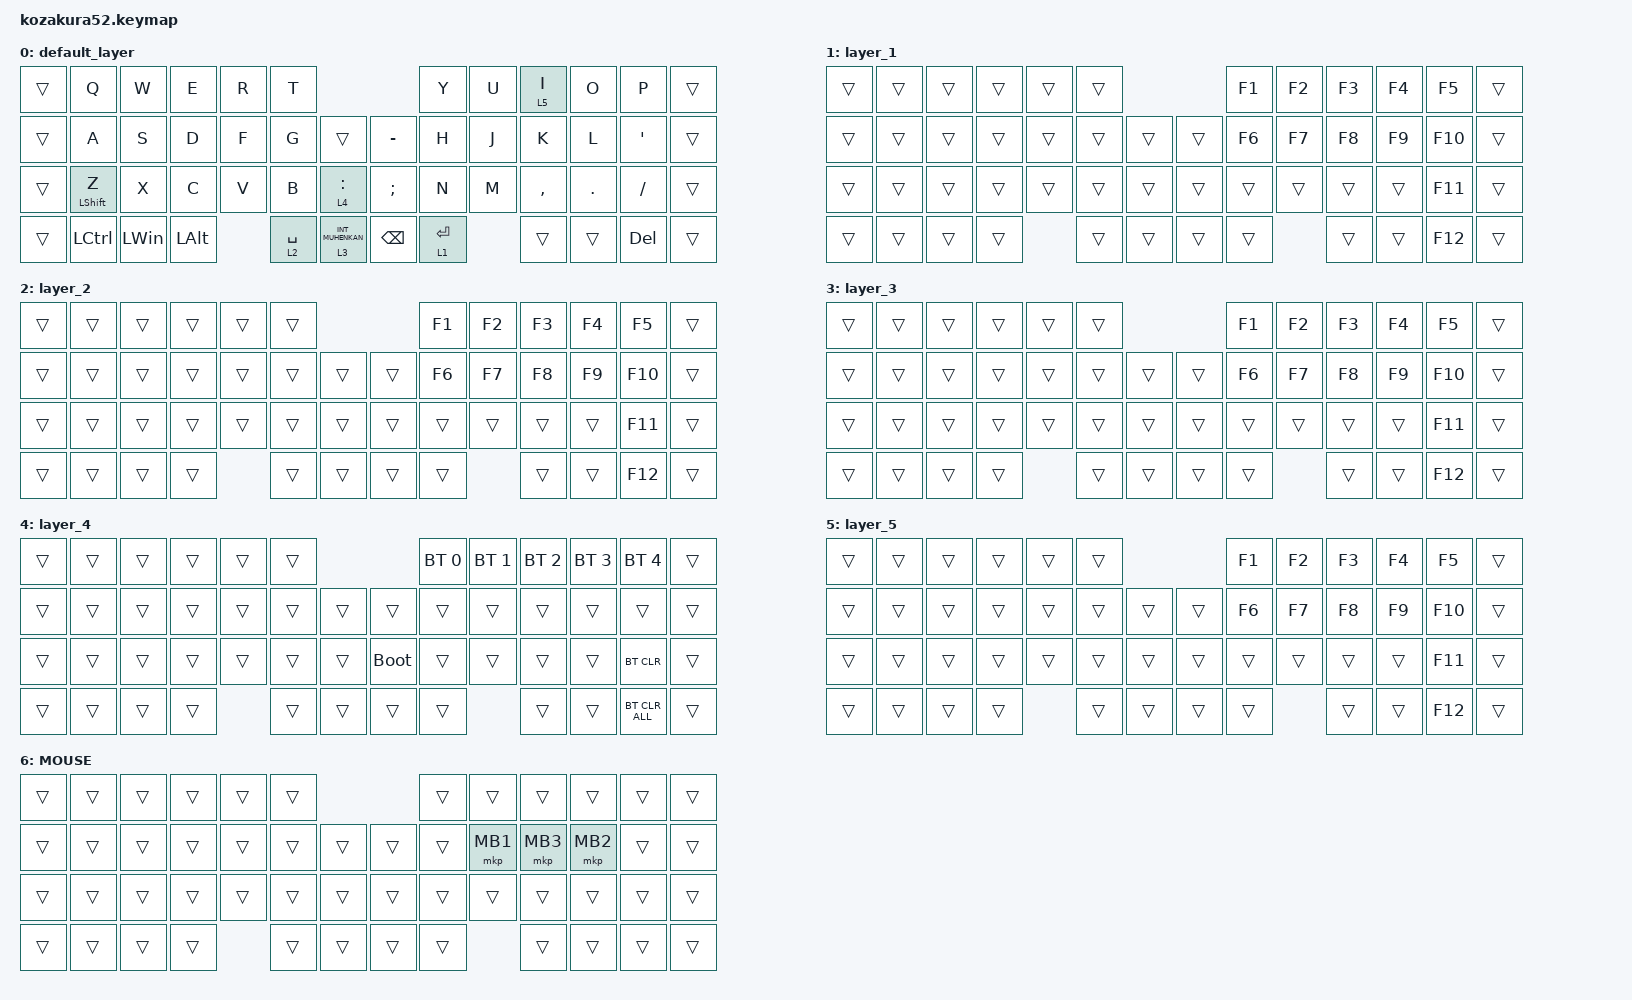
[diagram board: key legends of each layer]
#include <behaviors.dtsi>
#include <dt-bindings/zmk/bt.h>
#include <dt-bindings/zmk/keys.h>
#include <dt-bindings/zmk/pointing.h>

#define ZMK_POINTING_DEFAULT_SCRL_VAL 100
#define MOUSE 6

&mt {
    flavor = "balanced";
    quick-tap-ms = <0>;
};

/ {
    combos { compatible = "zmk,combos"; };

    macros {
        to_layer_0: to_layer_0 {
            compatible = "zmk,behavior-macro-one-param";
            #binding-cells = <1>;
            bindings = <&to 0 &macro_param_1to1 &kp MACRO_PLACEHOLDER>;
            label = "TO_LAYER_0";
        };
    };

    behaviors {
        lt_to_layer_0: lt_to_layer_0 {
            compatible = "zmk,behavior-hold-tap";
            label = "LAYER_TAP_TO_0";
            bindings = <&mo>, <&to_layer_0>;

            #binding-cells = <2>;
            tapping-term-ms = <200>;
        };

        scroll_up_down: behavior_sensor_rotate_mouse_wheel_up_down {
            compatible = "zmk,behavior-sensor-rotate";
            #sensor-binding-cells = <0>;
            bindings = <&msc SCRL_UP>, <&msc SCRL_DOWN>;

            tap-ms = <20>;
        };
    };

    keymap {
        compatible = "zmk,keymap";

        default_layer {
            bindings = <
&trans  &kp Q             &kp W         &kp E         &kp R             &kp T                                             &kp Y        &kp U  &lt 5 I    &kp O    &kp P      &trans
&trans  &kp A             &kp S         &kp D         &kp F             &kp G        &trans                &kp MINUS      &kp H        &kp J  &kp K      &kp L    &kp SQT    &trans
&trans  &mt LEFT_SHIFT Z  &kp X         &kp C         &kp V             &kp B        &lt 4 COLON           &kp SEMICOLON  &kp N        &kp M  &kp COMMA  &kp DOT  &kp SLASH  &trans
&trans  &kp LCTRL         &kp LEFT_WIN  &kp LEFT_ALT                    &lt 2 SPACE  &lt 3 INT_MUHENKAN    &kp BACKSPACE  &lt 1 ENTER         &trans     &trans   &kp DEL    &trans
            >;

//            sensor-bindings =
//                <&scroll_up_down>,
//                <&inc_dec_kp C_VOL_DN C_VOL_UP>;
        };

        layer_1 {
            bindings = <
&trans  &trans  &trans  &trans  &trans  &trans                    &kp F1  &kp F2  &kp F3  &kp F4  &kp F5   &trans
&trans  &trans  &trans  &trans  &trans  &trans  &trans    &trans  &kp F6  &kp F7  &kp F8  &kp F9  &kp F10  &trans
&trans  &trans  &trans  &trans  &trans  &trans  &trans    &trans  &trans  &trans  &trans  &trans  &kp F11  &trans
&trans  &trans  &trans  &trans          &trans  &trans    &trans  &trans          &trans  &trans  &kp F12  &trans
            >;

//            sensor-bindings = <&scroll_up_down>;
        };

        layer_2 {
            bindings = <
&trans  &trans  &trans  &trans  &trans  &trans                    &kp F1  &kp F2  &kp F3  &kp F4  &kp F5   &trans
&trans  &trans  &trans  &trans  &trans  &trans  &trans    &trans  &kp F6  &kp F7  &kp F8  &kp F9  &kp F10  &trans
&trans  &trans  &trans  &trans  &trans  &trans  &trans    &trans  &trans  &trans  &trans  &trans  &kp F11  &trans
&trans  &trans  &trans  &trans          &trans  &trans    &trans  &trans          &trans  &trans  &kp F12  &trans
            >;

//            sensor-bindings = <&scroll_up_down>;
        };

        layer_3 {
            bindings = <
&trans  &trans  &trans  &trans  &trans  &trans                    &kp F1  &kp F2  &kp F3  &kp F4  &kp F5   &trans
&trans  &trans  &trans  &trans  &trans  &trans  &trans    &trans  &kp F6  &kp F7  &kp F8  &kp F9  &kp F10  &trans
&trans  &trans  &trans  &trans  &trans  &trans  &trans    &trans  &trans  &trans  &trans  &trans  &kp F11  &trans
&trans  &trans  &trans  &trans          &trans  &trans    &trans  &trans          &trans  &trans  &kp F12  &trans
            >;

//            sensor-bindings = <&scroll_up_down>;
        };

        layer_4 {
            bindings = <
&trans  &trans  &trans  &trans  &trans  &trans                         &bt BT_SEL 0  &bt BT_SEL 1  &bt BT_SEL 2  &bt BT_SEL 3  &bt BT_SEL 4    &trans
&trans  &trans  &trans  &trans  &trans  &trans  &trans    &trans       &trans        &trans        &trans        &trans        &trans          &trans
&trans  &trans  &trans  &trans  &trans  &trans  &trans    &bootloader  &trans        &trans        &trans        &trans        &bt BT_CLR      &trans
&trans  &trans  &trans  &trans          &trans  &trans    &trans       &trans                      &trans        &trans        &bt BT_CLR_ALL  &trans
            >;

//            sensor-bindings = <&scroll_up_down>;
        };

        layer_5 {
            bindings = <
&trans  &trans  &trans  &trans  &trans  &trans                    &kp F1  &kp F2  &kp F3  &kp F4  &kp F5   &trans
&trans  &trans  &trans  &trans  &trans  &trans  &trans    &trans  &kp F6  &kp F7  &kp F8  &kp F9  &kp F10  &trans
&trans  &trans  &trans  &trans  &trans  &trans  &trans    &trans  &trans  &trans  &trans  &trans  &kp F11  &trans
&trans  &trans  &trans  &trans          &trans  &trans    &trans  &trans          &trans  &trans  &kp F12  &trans
            >;

//            sensor-bindings = <&scroll_up_down>;
        };

        MOUSE {
            bindings = <
&trans  &trans  &trans  &trans  &trans  &trans                    &trans  &trans    &trans    &trans    &trans  &trans
&trans  &trans  &trans  &trans  &trans  &trans  &trans    &trans  &trans  &mkp MB1  &mkp MB3  &mkp MB2  &trans  &trans
&trans  &trans  &trans  &trans  &trans  &trans  &trans    &trans  &trans  &trans    &trans    &trans    &trans  &trans
&trans  &trans  &trans  &trans          &trans  &trans    &trans  &trans            &trans    &trans    &trans  &trans
            >;

//            sensor-bindings = <&scroll_up_down>;
        };
    };
};
